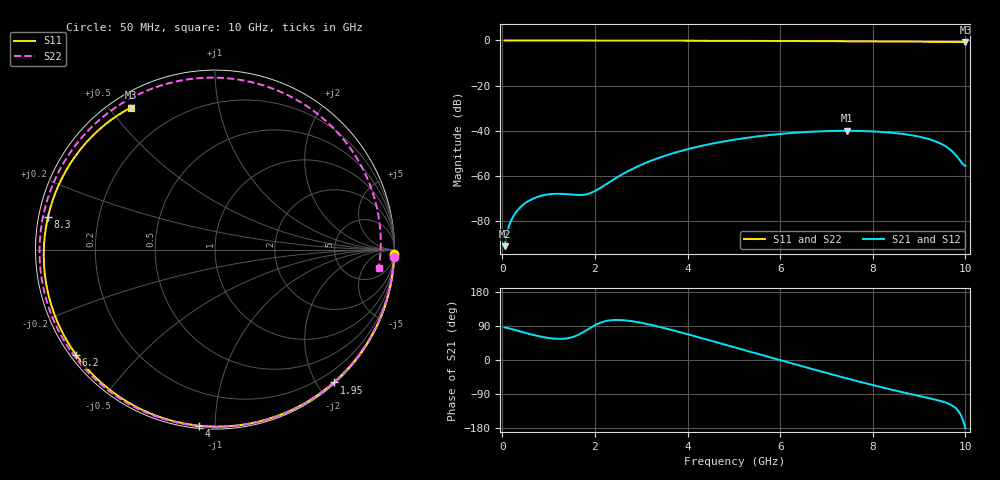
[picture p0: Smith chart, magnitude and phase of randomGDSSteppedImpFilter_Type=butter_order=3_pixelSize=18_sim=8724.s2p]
! freq	dB(S11)	phase(S11)	dB(S12)	phase(S12)
!  dB(S21)	phase(S21)	dB(S22)	phase(S22)
!S-par simulation data
#  GHz  S  DB  R 50
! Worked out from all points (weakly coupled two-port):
!   200 points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, 50 MHz to 10 GHz, reference 50 ohm
!   highest |S21| = -39.97 dB at 7.45 GHz (marker M1); lowest = -91.0 dB at 50 MHz (marker M2)
!   lowest |S11| = -0.7 dB at 10 GHz (marker M3), VSWR 23.78, Z = 2.78 + j28.4 ohm
!   |S11| at or under -10 dB: nowhere
!   |S22| runs from -0.7 to 0.0 dB; largest |S21 - S12| = 0
!   S11 on the Smith chart (normalised r, x): 50 MHz: 6, -89; 1.95 GHz: 0.02, -2.24; 4 GHz: 0.01, -0.91; 6.2 GHz: 0.02, -0.34; 8.3 GHz: 0.03, +0.10; 10 GHz: 0.06, +0.57
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0.05  -0.01 -1.3  -90.97 86.0  -90.97 86.0  -0.01 -2.4
0.2  -0.01 -5.0  -79.25 81.8  -79.25 81.8  -0.03 -10.1
0.4  -0.02 -10.1  -73.58 74.9  -73.58 74.9  -0.04 -20.3
0.75  -0.02 -18.8  -69.26 63.9  -69.26 63.9  -0.05 -37.6
1.25  -0.04 -31.2  -67.80 55.8  -67.80 55.8  -0.07 -61.3
1.75  -0.06 -43.4  -68.26 73.6  -68.26 73.6  -0.10 -83.2
1.95  -0.06 -48.2  -67.09 88.6  -67.09 88.6  -0.10 -91.5
2.6  -0.08 -63.5  -59.09 105.2  -59.09 105.2  -0.13 -116.5
3.4  -0.11 -81.9  -51.77 87.1  -51.77 87.1  -0.15 -144.1
4  -0.13 -95.2  -48.09 68.0  -48.09 68.0  -0.17 -163.2
4.5  -0.15 -106.1  -45.76 51.1  -45.76 51.1  -0.19 -178.5
5.05  -0.18 -118.0  -43.75 32.3  -43.75 32.3  -0.22 164.9
5.6  -0.21 -129.8  -42.22 13.4  -42.22 13.4  -0.25 148.4
6.2  -0.26 -142.7  -41.00 -7.2  -41.00 -7.2  -0.29 130.0
6.7  -0.30 -153.7  -40.34 -24.1  -40.34 -24.1  -0.32 114.2
7.45  -0.37 -170.6  -39.97 -48.8  -39.97 -48.8  -0.37 89.3
8.3  -0.46 169.0  -40.62 -75.2  -40.62 -75.2  -0.45 59.2
8.35  -0.47 167.8  -40.70 -76.6  -40.70 -76.6  -0.46 57.4
8.9  -0.54 153.4  -42.15 -92.1  -42.15 -92.1  -0.52 36.7
9.4  -0.61 139.3  -45.00 -106.2  -45.00 -106.2  -0.60 17.4
9.7  -0.66 130.2  -48.75 -119.1  -48.75 -119.1  -0.66 5.6
10  -0.73 120.7  -55.50 -179.7  -55.50 -179.7  -0.74 -6.4
